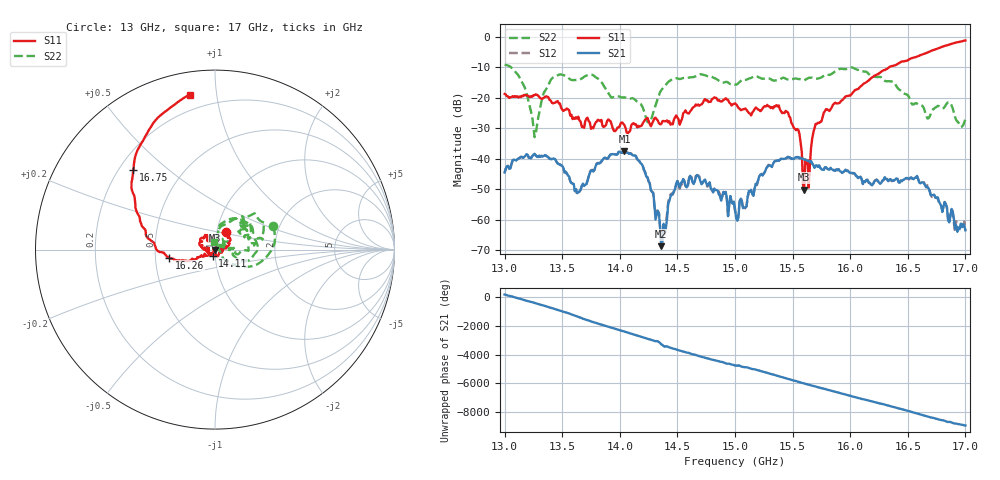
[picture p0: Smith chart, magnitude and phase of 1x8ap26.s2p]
!Keysight Technologies,P9374A,MY57211807,A.19.30.04
!Date: Friday, May 08, 2026 14:34:49
!Correction: S11(C  2-Port  )
!S21(C  2-Port  )
!S12(C  2-Port  )
!S22(C  2-Port  )
!S2P File: Measurements: S11, S21, S12, S22:
# Hz S  dB  R 50
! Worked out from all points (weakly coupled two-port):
!   401 points, 13 GHz to 17 GHz, reference 50 ohm
!   highest |S21| = -37.58 dB at 14.04 GHz (marker M1); lowest = -68.8 dB at 14.36 GHz (marker M2)
!   lowest |S11| = -50.1 dB at 15.6 GHz (marker M3), VSWR 1.01, Z = 49.8 - j0.225 ohm
!   |S11| at or under -10 dB: start of sweep to 16.34 GHz
!   |S22| runs from -32.9 to -9.1 dB; largest |S21 - S12| = 0.00043
!   S11 on the Smith chart (normalised r, x): 13 GHz: 1.11, +0.22; 14.11 GHz: 0.97, -0.07; 16.26 GHz: 0.59, -0.06; 16.75 GHz: 0.26, +0.38; 17 GHz: 0.11, +0.84
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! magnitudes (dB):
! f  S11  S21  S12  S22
! 13 GHz  -18.7  -44.5  -44.6  -9.1
! 13.16 GHz  -19.5  -39.7  -39.7  -15.5
! 13.27 GHz  -18.8  -38.9  -39.0  -32.0
! 13.41 GHz  -21.6  -40.2  -40.1  -13.7
! 13.67 GHz  -29.6  -48.9  -49.0  -13.7
! 14.04 GHz  -29.0  -37.6  -37.6  -19.9
! 14.11 GHz  -28.5  -38.8  -38.8  -20.2
! 14.25 GHz  -27.6  -47.4  -47.5  -28.1
! 14.34 GHz  -28.4  -58.0  -58.0  -19.0
! 14.36 GHz  -28.6  -68.8  -67.8  -17.5
! 14.49 GHz  -25.8  -48.2  -48.3  -13.6
! 14.67 GHz  -22.5  -45.5  -45.4  -12.7
! 15 GHz  -21.8  -56.5  -57.1  -15.7
! 15.46 GHz  -24.8  -39.4  -39.4  -14.0
! 15.55 GHz  -30.5  -39.5  -39.5  -13.8
! 15.6 GHz  -50.1  -40.3  -40.2  -14.3
! 15.67 GHz  -33.4  -41.6  -41.6  -13.4
! 15.79 GHz  -23.7  -42.9  -42.8  -12.4
! 16.26 GHz  -11.7  -48.3  -48.1  -13.1
! 16.34 GHz  -9.9  -46.9  -46.9  -14.5
! 16.75 GHz  -3.9  -52.8  -52.9  -23.0
! 17 GHz  -1.2  -63.5  -63.6  -27.0
